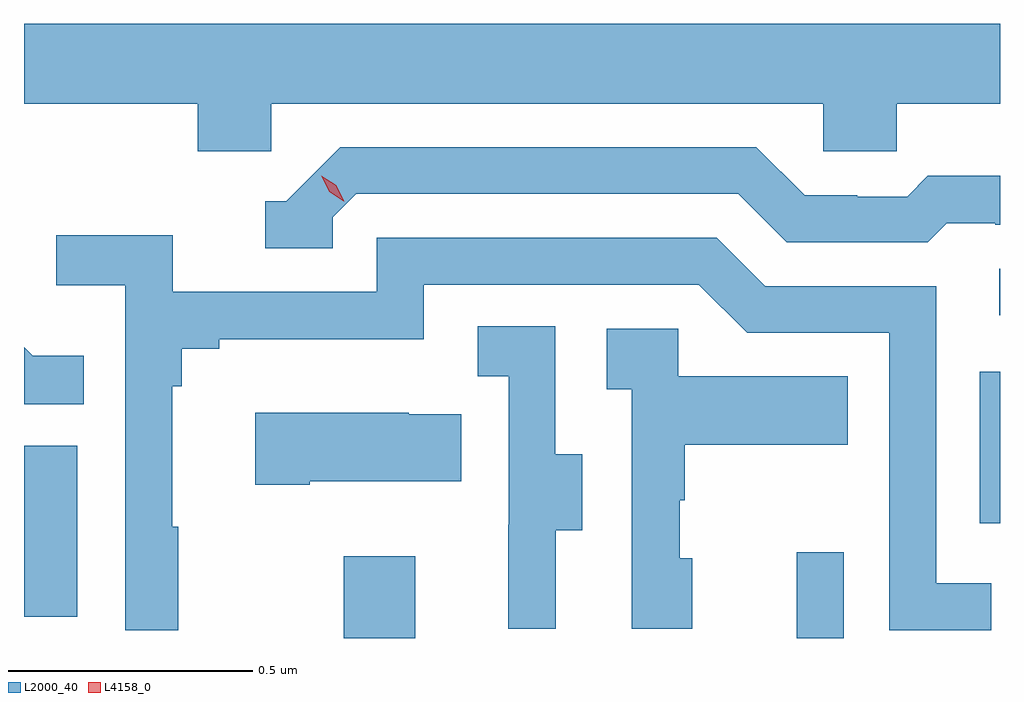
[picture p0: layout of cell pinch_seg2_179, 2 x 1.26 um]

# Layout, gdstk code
import gdstk
lib = gdstk.Library(unit=1e-6, precision=1e-09)
def R(c, l, rs):  # rectangles x0, y0, x1, y1
    for r in rs: c.add(gdstk.rectangle(r[:2], r[2:], *l))
def P(c, l, *ps):  # polygons
    for p in ps: c.add(gdstk.Polygon(p, *l))
L2000_40 = (2000, 40)
L4158_0 = (4158, 0)

pinch_seg2_179 = lib.new_cell('pinch_seg2_179')
R(pinch_seg2_179, L2000_40, [(1098.67,633.22,1098.817,633.388), (1099.598,633.22,1099.695,633.397), (1098.015,633.264,1098.124,633.615), (1099.974,633.456,1100.015,633.766), (1100.013,633.882,1100.015,633.978)])
P(pinch_seg2_179, L2000_40, [(1098.522,634.316),(1099.653,634.316),(1099.653,634.218),(1099.803,634.218),(1099.803,634.316),(1100.015,634.316),(1100.015,634.48),(1098.015,634.48),(1098.015,634.316),(1098.371,634.316),(1098.371,634.218),(1098.522,634.218)],
  [(1098.648,634.083),(1098.696,634.131),(1099.479,634.131),(1099.578,634.032),(1099.867,634.032),(1099.906,634.071),(1100.005,634.071),(1100.005,634.068),(1100.015,634.068),(1100.015,634.168),(1099.867,634.168),(1099.825,634.125),(1099.722,634.125),(1099.722,634.128),(1099.615,634.128),(1099.516,634.227),(1098.663,634.227),(1098.552,634.116),(1098.509,634.116),(1098.509,634.02),(1098.648,634.02)],
  [(1098.331,633.449),(1098.319,633.449),(1098.319,633.737),(1098.338,633.737),(1098.338,633.814),(1098.415,633.814),(1098.415,633.833),(1098.834,633.833),(1098.834,633.945),(1099.398,633.945),(1099.497,633.846),(1099.788,633.846),(1099.788,633.237),(1099.997,633.237),(1099.997,633.333),(1099.884,633.333),(1099.884,633.942),(1099.534,633.942),(1099.435,634.041),(1098.738,634.041),(1098.738,633.93),(1098.32,633.93),(1098.32,634.046),(1098.081,634.046),(1098.081,633.944),(1098.222,633.944),(1098.222,633.237),(1098.331,633.237)],
  [(1099.105,633.442),(1099.159,633.442),(1099.159,633.597),(1099.104,633.597),(1099.104,633.86),(1098.945,633.86),(1098.945,633.757),(1099.008,633.757),(1099.008,633.453),(1099.007,633.453),(1099.007,633.24),(1099.105,633.24)],
  [(1099.384,633.384),(1099.359,633.384),(1099.359,633.503),(1099.369,633.503),(1099.369,633.617),(1099.703,633.617),(1099.703,633.757),(1099.356,633.757),(1099.356,633.855),(1099.209,633.855),(1099.209,633.731),(1099.26,633.731),(1099.26,633.24),(1099.384,633.24)],
  [(1098.137,633.799),(1098.033,633.799),(1098.015,633.817),(1098.015,633.7),(1098.137,633.7)],
  [(1098.601,633.542),(1098.911,633.542),(1098.911,633.679),(1098.803,633.679),(1098.803,633.682),(1098.489,633.682),(1098.489,633.535),(1098.601,633.535)])
P(pinch_seg2_179, L4158_0, [(1098.67,634.116),(1098.64,634.135),(1098.624,634.168),(1098.624,634.168),(1098.624,634.168),(1098.655,634.149),(1098.671,634.116),(1098.671,634.116)])

lib.write_gds('pinch_seg2_179.gds')
